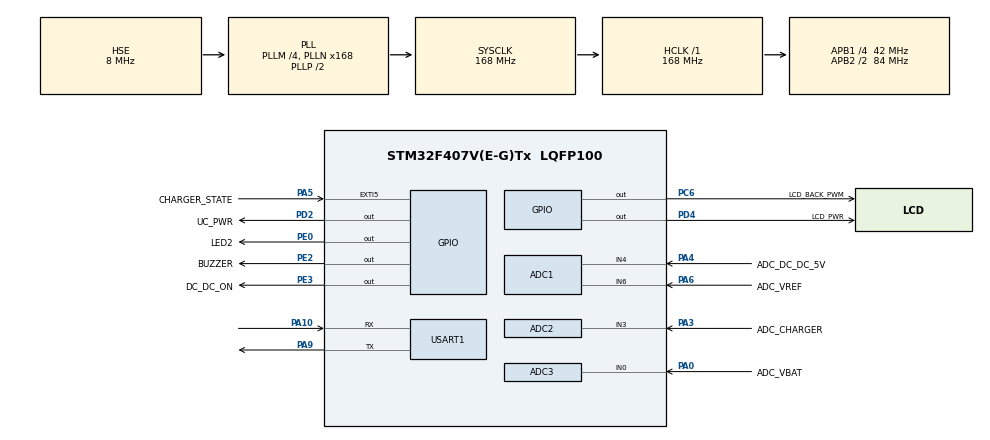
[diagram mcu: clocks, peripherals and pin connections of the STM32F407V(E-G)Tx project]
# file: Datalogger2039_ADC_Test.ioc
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Mcu.Family=STM32F4
PH0-OSC_IN.Signal=RCC_OSC_IN
RCC.CortexFreq_Value=168000000
ADC2.Channel-0\#ChannelRegularConversion=ADC_CHANNEL_3
PE2.GPIO_Speed=GPIO_SPEED_FREQ_VERY_HIGH
PC6.GPIO_Label=LCD_BACK_PWM
PD2.GPIO_Speed=GPIO_SPEED_FREQ_VERY_HIGH
PA6.GPIO_Label=ADC_VREF
ADC3.Channel-0\#ChannelRegularConversion=ADC_CHANNEL_0
RCC.SYSCLKSource=RCC_SYSCLKSOURCE_PLLCLK
ProjectManager.StackSize=0x400
RCC.HCLKFreq_Value=168000000
SH.ADCx_IN3.0=ADC3_IN3
SH.ADCx_IN3.1=ADC2_IN3,IN3
PD4.Signal=GPIO_Output
RCC.APB2TimFreq_Value=168000000
RCC.AHBFreq_Value=168000000
PH0-OSC_IN.Mode=HSE-External-Oscillator
ADC1.Channel-0\#ChannelRegularConversion=ADC_CHANNEL_4
RCC.HSE_VALUE=8000000
SH.ADCx_IN0.1=ADC3_IN0,IN0
PE2.Signal=GPIO_Output
SH.ADCx_IN0.0=ADC1_IN0
ADC1.SamplingTime-0\#ChannelRegularConversion=ADC_SAMPLETIME_112CYCLES
PH1-OSC_OUT.Mode=HSE-External-Oscillator
Mcu.Package=LQFP100
PA6.Signal=ADCx_IN6
ADC3.Rank-0\#ChannelRegularConversion=1
PA10.Signal=USART1_RX
ADC2.SamplingTime-0\#ChannelRegularConversion=ADC_SAMPLETIME_112CYCLES
PE0.GPIO_Label=LED2
RCC.APB2CLKDivider=RCC_HCLK_DIV2
RCC.APB1TimFreq_Value=84000000
ADC2.Rank-0\#ChannelRegularConversion=1
NVIC.USART1_IRQn=true\:0\:0\:false\:false\:true\:true\:true
PA4.GPIO_Label=ADC_DC_DC_5V
PC6.GPIO_Speed=GPIO_SPEED_FREQ_VERY_HIGH
PE2.GPIO_Label=BUZZER
PA3.Signal=ADCx_IN3
RCC.PLLSourceVirtual=RCC_PLLSOURCE_HSE
ADC1.Rank-0\#ChannelRegularConversion=1
PA10.Mode=Asynchronous
SH.ADCx_IN6.0=ADC1_IN6,IN6
PC6.Signal=GPIO_Output
RCC.APB1CLKDivider=RCC_HCLK_DIV4
PA0-WKUP.GPIO_Label=ADC_VBAT
PA0-WKUP.Signal=ADCx_IN0
PE0.GPIO_Speed=GPIO_SPEED_FREQ_VERY_HIGH
PD4.PinState=GPIO_PIN_SET
PA9.Mode=Asynchronous
ADC3.SamplingTime-0\#ChannelRegularConversion=ADC_SAMPLETIME_112CYCLES
ProjectManager.TargetToolchain=STM32CubeIDE
PA9.Signal=USART1_TX
RCC.LSE_VALUE=32768
PC6.PinState=GPIO_PIN_SET
PA5.Signal=GPXTI5
PD2.PinState=GPIO_PIN_SET
board=custom
RCC.VCOOutputFreq_Value=336000000
RCC.APB2Freq_Value=84000000
PD4.GPIO_Label=LCD_PWR
PD4.GPIO_Speed=GPIO_SPEED_FREQ_VERY_HIGH
SH.ADCx_IN4.1=ADC1_IN4,IN4
PH1-OSC_OUT.Signal=RCC_OSC_OUT
SH.ADCx_IN4.0=ADC2_IN4
ADC1.NbrOfConversion=1
Mcu.Name=STM32F407V(E-G)Tx
PE0.Signal=GPIO_Output
RCC.48MHZClocksFreq_Value=84000000
PA4.Signal=ADCx_IN4
RCC.SYSCLKFreq_VALUE=168000000
ADC1.master=1
PA5.GPIO_Label=CHARGER_STATE
ADC2.NbrOfConversionFlag=1
PE3.GPIO_Speed=GPIO_SPEED_FREQ_VERY_HIGH
USART1.VirtualMode=VM_ASYNC
NVIC.EXTI9_5_IRQn=true\:0\:0\:false\:false\:true\:true\:true
ProjectManager.HeapSize=0x200
RCC.HSI_VALUE=16000000
NVIC.PriorityGroup=NVIC_PRIORITYGROUP_4
ADC1.NbrOfConversionFlag=1
RCC.PLLM=4
RCC.PLLN=168
PE3.Signal=GPIO_Output
PE3.GPIO_Label=DC_DC_ON
PD2.Signal=GPIO_Output
RCC.APB1Freq_Value=42000000
ADC3.NbrOfConversionFlag=1
PD2.GPIO_Label=UC_PWR
PA3.GPIO_Label=ADC_CHARGER

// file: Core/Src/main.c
/* USER CODE BEGIN Header */
/**
 ******************************************************************************
 * @file           : main.c
 * @brief          : Main program body
 ******************************************************************************
 * @attention
 *
 * <h2><center>&copy; Copyright (c) 2021 STMicroelectronics.
 * All rights reserved.</center></h2>
 *
 * This software component is licensed by ST under BSD 3-Clause license,
 * the "License"; You may not use this file except in compliance with the
 * License. You may obtain a copy of the License at:
 *                        opensource.org/licenses/BSD-3-Clause
 *
 ******************************************************************************
 */
/* USER CODE END Header */
#include "main.h"

/* USER CODE BEGIN Includes */
#include <stdio.h>
#include "stm32f4xx_hal_adc_ex.h"
/* USER CODE END Includes */

ADC_HandleTypeDef hadc1;
ADC_HandleTypeDef hadc2;
ADC_HandleTypeDef hadc3;

UART_HandleTypeDef huart1;

/* USER CODE BEGIN PV */
uint32_t TP4056_charger_freq = 0;
uint32_t AD1_RES_ADC_DC_DC_5V = 0;
uint32_t AD2_RES_ADC_CHARGER = 0;
uint32_t AD3_RES_ADC_VBAT = 0;
uint32_t AD1_RES_ADC_VREF = 0;

/* ADC const calibration */
float const_adc_x2 = 0;
float const_adc_x16 = 0;

float batt_percent_up = 0;
float batt_percent_down = 100;

uint32_t battery_failure_timeout = 0;
volatile uint32_t battery_failure_cnt = 0;
volatile HAL_StatusTypeDef battery_failure_flag = HAL_OK;
/* USER CODE END PV */

void SystemClock_Config(void);
static void MX_GPIO_Init(void);
static void MX_ADC1_Init(void);
static void MX_ADC2_Init(void);
static void MX_ADC3_Init(void);
static void MX_USART1_UART_Init(void);
/* USER CODE BEGIN PFP */
void get_ADC_Vref(void);
float map(float x, float in_min, float in_max, float out_min, float out_max);
/* USER CODE END PFP */

/* USER CODE BEGIN 0 */
float map(float x, float in_min, float in_max, float out_min, float out_max) {
	if ((in_max - in_min) > (out_max - out_min)) {
		return (x - in_min) * (out_max - out_min + 1) / (in_max - in_min + 1)
				+ out_min;
	} else {
		return (x - in_min) * (out_max - out_min) / (in_max - in_min) + out_min;
	}
}
/* USER CODE END 0 */

int main(void) {

	/* MCU Configuration--------------------------------------------------------*/

	/* Reset of all peripherals, Initializes the Flash interface and the Systick. */
	HAL_Init();

	/* Configure the system clock */
	SystemClock_Config();

	/* Initialize all configured peripherals */
	MX_GPIO_Init();
	MX_ADC1_Init();
	MX_ADC2_Init();
	MX_ADC3_Init();
	MX_USART1_UART_Init();
	/* USER CODE BEGIN 2 */
	HAL_Delay(50);

	get_ADC_Vref();

	HAL_GPIO_WritePin(DC_DC_ON_GPIO_Port, DC_DC_ON_Pin, GPIO_PIN_SET);

	/* USER CODE END 2 */

	/* Infinite loop */
	while (1) {

		/* USER CODE BEGIN 3 */
		get_ADC_Vref();

		AD1_RES_ADC_DC_DC_5V = 0;
		AD2_RES_ADC_CHARGER = 0;
		AD3_RES_ADC_VBAT = 0;

		for (int i = 0; i < 50; i++) {
			// Start ADC Conversion
			HAL_ADC_Start(&hadc1);
			HAL_ADC_Start(&hadc2);
			HAL_ADC_Start(&hadc3);
			// Poll ADC1 Perihperal & TimeOut = 1mSec
			HAL_ADC_PollForConversion(&hadc1, 1);
			HAL_ADC_PollForConversion(&hadc2, 1);
			HAL_ADC_PollForConversion(&hadc3, 1);
			// Read The ADC Conversion Result & Map It To PWM DutyCycle
			AD1_RES_ADC_DC_DC_5V += HAL_ADC_GetValue(&hadc1);
			AD2_RES_ADC_CHARGER += HAL_ADC_GetValue(&hadc2);
			AD3_RES_ADC_VBAT += HAL_ADC_GetValue(&hadc3);
		}

		float f_adc1 = 0, f_adc2 = 0, f_adc3 = 0; //, f_vref = 0;

		f_adc1 = AD1_RES_ADC_DC_DC_5V / 50;
		f_adc2 = AD2_RES_ADC_CHARGER / 50;
		f_adc3 = AD3_RES_ADC_VBAT / 50;

		// (3.3 / 4096) = 0,000805664
		// R1=10k; R2=10k
		// 3.3V=10k; 20k=2*3.3
		// 0,000805664 * 2 = 0,001611328
		// 0,001611328 * 0,916996047 = 0,001477581
		// R1=15k; R2=1k
		// 3.3V=1k; 16k=16*3.3
		// 0,000805664 * 16 = 0,012890624
		// 0,012890624 * 0,916996047 = 0,011820651

		f_adc1 = f_adc1 * const_adc_x2;
		f_adc2 = f_adc2 * const_adc_x16;
		f_adc3 = f_adc3 * const_adc_x2;

		UsrLog("ADC1 %0.1fV, ADC2 %0.1fV, ADC3 %0.1fV", f_adc1, f_adc2, f_adc3);
		UsrLog("TP4056 LED CHRG freq: %lu", TP4056_charger_freq);

		// battery_failure_flag:
		// interruption on pin PA5 (frequency counter)
		// ---> see stm32f4xx_it.c file

		if (battery_failure_flag == 1) {
			UsrLog("Battery: error; tick: %lu", HAL_GetTick());
		} else {
			if (HAL_GPIO_ReadPin(CHARGER_STATE_GPIO_Port, CHARGER_STATE_Pin)
					== GPIO_PIN_RESET) {
				if (f_adc2 < 8.0) {
					UsrLog("Battery: in use; tick: %lu", HAL_GetTick());

					batt_percent_up = 0.0;
				} else {
					UsrLog("Battery: charging; tick: %lu", HAL_GetTick());
				}
			} else {
				UsrLog("Battery: charged; tick: %lu", HAL_GetTick());
			}
		}

		HAL_Delay(2000);
	}
	/* USER CODE END 3 */
}

void SystemClock_Config(void) {
	RCC_OscInitTypeDef RCC_OscInitStruct = { 0 };
	RCC_ClkInitTypeDef RCC_ClkInitStruct = { 0 };

	/** Configure the main internal regulator output voltage
	 */
	__HAL_RCC_PWR_CLK_ENABLE();
	__HAL_PWR_VOLTAGESCALING_CONFIG(PWR_REGULATOR_VOLTAGE_SCALE1);
	/** Initializes the RCC Oscillators according to the specified parameters
	 * in the RCC_OscInitTypeDef structure.
	 */
	RCC_OscInitStruct.OscillatorType = RCC_OSCILLATORTYPE_HSE;
	RCC_OscInitStruct.HSEState = RCC_HSE_ON;
	RCC_OscInitStruct.PLL.PLLState = RCC_PLL_ON;
	RCC_OscInitStruct.PLL.PLLSource = RCC_PLLSOURCE_HSE;
	RCC_OscInitStruct.PLL.PLLM = 4;
	RCC_OscInitStruct.PLL.PLLN = 168;
	RCC_OscInitStruct.PLL.PLLP = RCC_PLLP_DIV2;
	RCC_OscInitStruct.PLL.PLLQ = 4;
	if (HAL_RCC_OscConfig(&RCC_OscInitStruct) != HAL_OK) {
		Error_Handler();
	}
	/** Initializes the CPU, AHB and APB buses clocks
	 */
	RCC_ClkInitStruct.ClockType = RCC_CLOCKTYPE_HCLK | RCC_CLOCKTYPE_SYSCLK
			| RCC_CLOCKTYPE_PCLK1 | RCC_CLOCKTYPE_PCLK2;
	RCC_ClkInitStruct.SYSCLKSource = RCC_SYSCLKSOURCE_PLLCLK;
	RCC_ClkInitStruct.AHBCLKDivider = RCC_SYSCLK_DIV1;
	RCC_ClkInitStruct.APB1CLKDivider = RCC_HCLK_DIV4;
	RCC_ClkInitStruct.APB2CLKDivider = RCC_HCLK_DIV2;

	if (HAL_RCC_ClockConfig(&RCC_ClkInitStruct, FLASH_LATENCY_5) != HAL_OK) {
		Error_Handler();
	}
}

static void MX_ADC1_Init(void) {

	ADC_ChannelConfTypeDef sConfig = { 0 };

	/** Configure the global features of the ADC (Clock, Resolution, Data Alignment and number of conversion)
	 */
	hadc1.Instance = ADC1;
	hadc1.Init.ClockPrescaler = ADC_CLOCK_SYNC_PCLK_DIV4;
	hadc1.Init.Resolution = ADC_RESOLUTION_12B;
	hadc1.Init.ScanConvMode = DISABLE;
	hadc1.Init.ContinuousConvMode = DISABLE;
	hadc1.Init.DiscontinuousConvMode = DISABLE;
	hadc1.Init.ExternalTrigConvEdge = ADC_EXTERNALTRIGCONVEDGE_NONE;
	hadc1.Init.ExternalTrigConv = ADC_SOFTWARE_START;
	hadc1.Init.DataAlign = ADC_DATAALIGN_RIGHT;
	hadc1.Init.NbrOfConversion = 1;
	hadc1.Init.DMAContinuousRequests = DISABLE;
	hadc1.Init.EOCSelection = ADC_EOC_SINGLE_CONV;
	if (HAL_ADC_Init(&hadc1) != HAL_OK) {
		Error_Handler();
	}
	/** Configure for the selected ADC regular channel its corresponding rank in the sequencer and its sample time.
	 */
	sConfig.Channel = ADC_CHANNEL_4;
	sConfig.Rank = 1;
	sConfig.SamplingTime = ADC_SAMPLETIME_112CYCLES;
	if (HAL_ADC_ConfigChannel(&hadc1, &sConfig) != HAL_OK) {
		Error_Handler();
	}

}

static void MX_ADC2_Init(void) {

	ADC_ChannelConfTypeDef sConfig = { 0 };

	/** Configure the global features of the ADC (Clock, Resolution, Data Alignment and number of conversion)
	 */
	hadc2.Instance = ADC2;
	hadc2.Init.ClockPrescaler = ADC_CLOCK_SYNC_PCLK_DIV4;
	hadc2.Init.Resolution = ADC_RESOLUTION_12B;
	hadc2.Init.ScanConvMode = DISABLE;
	hadc2.Init.ContinuousConvMode = DISABLE;
	hadc2.Init.DiscontinuousConvMode = DISABLE;
	hadc2.Init.ExternalTrigConvEdge = ADC_EXTERNALTRIGCONVEDGE_NONE;
	hadc2.Init.ExternalTrigConv = ADC_SOFTWARE_START;
	hadc2.Init.DataAlign = ADC_DATAALIGN_RIGHT;
	hadc2.Init.NbrOfConversion = 1;
	hadc2.Init.DMAContinuousRequests = DISABLE;
	hadc2.Init.EOCSelection = ADC_EOC_SINGLE_CONV;
	if (HAL_ADC_Init(&hadc2) != HAL_OK) {
		Error_Handler();
	}
	/** Configure for the selected ADC regular channel its corresponding rank in the sequencer and its sample time.
	 */
	sConfig.Channel = ADC_CHANNEL_3;
	sConfig.Rank = 1;
	sConfig.SamplingTime = ADC_SAMPLETIME_112CYCLES;
	if (HAL_ADC_ConfigChannel(&hadc2, &sConfig) != HAL_OK) {
		Error_Handler();
	}

}

static void MX_ADC3_Init(void) {

	ADC_ChannelConfTypeDef sConfig = { 0 };

	/** Configure the global features of the ADC (Clock, Resolution, Data Alignment and number of conversion)
	 */
	hadc3.Instance = ADC3;
	hadc3.Init.ClockPrescaler = ADC_CLOCK_SYNC_PCLK_DIV4;
	hadc3.Init.Resolution = ADC_RESOLUTION_12B;
	hadc3.Init.ScanConvMode = DISABLE;
	hadc3.Init.ContinuousConvMode = DISABLE;
	hadc3.Init.DiscontinuousConvMode = DISABLE;
	hadc3.Init.ExternalTrigConvEdge = ADC_EXTERNALTRIGCONVEDGE_NONE;
	hadc3.Init.ExternalTrigConv = ADC_SOFTWARE_START;
	hadc3.Init.DataAlign = ADC_DATAALIGN_RIGHT;
	hadc3.Init.NbrOfConversion = 1;
	hadc3.Init.DMAContinuousRequests = DISABLE;
	hadc3.Init.EOCSelection = ADC_EOC_SINGLE_CONV;
	if (HAL_ADC_Init(&hadc3) != HAL_OK) {
		Error_Handler();
	}
	/** Configure for the selected ADC regular channel its corresponding rank in the sequencer and its sample time.
	 */
	sConfig.Channel = ADC_CHANNEL_0;
	sConfig.Rank = 1;
	sConfig.SamplingTime = ADC_SAMPLETIME_112CYCLES;
	if (HAL_ADC_ConfigChannel(&hadc3, &sConfig) != HAL_OK) {
		Error_Handler();
	}

}

static void MX_USART1_UART_Init(void) {

	huart1.Instance = USART1;
	huart1.Init.BaudRate = 115200;
	huart1.Init.WordLength = UART_WORDLENGTH_8B;
	huart1.Init.StopBits = UART_STOPBITS_1;
	huart1.Init.Parity = UART_PARITY_NONE;
	huart1.Init.Mode = UART_MODE_TX_RX;
	huart1.Init.HwFlowCtl = UART_HWCONTROL_NONE;
	huart1.Init.OverSampling = UART_OVERSAMPLING_16;
	if (HAL_UART_Init(&huart1) != HAL_OK) {
		Error_Handler();
	}

}

static void MX_GPIO_Init(void) {
	GPIO_InitTypeDef GPIO_InitStruct = { 0 };

	/* GPIO Ports Clock Enable */
	__HAL_RCC_GPIOE_CLK_ENABLE();
	__HAL_RCC_GPIOH_CLK_ENABLE();
	__HAL_RCC_GPIOA_CLK_ENABLE();
	__HAL_RCC_GPIOC_CLK_ENABLE();
	__HAL_RCC_GPIOD_CLK_ENABLE();

	/*Configure GPIO pin Output Level */
	HAL_GPIO_WritePin(GPIOE, BUZZER_Pin | DC_DC_ON_Pin | LED2_Pin,
			GPIO_PIN_RESET);

	/*Configure GPIO pin Output Level */
	HAL_GPIO_WritePin(LCD_BACK_PWM_GPIO_Port, LCD_BACK_PWM_Pin, GPIO_PIN_SET);

	/*Configure GPIO pin Output Level */
	HAL_GPIO_WritePin(GPIOD, UC_PWR_Pin | LCD_PWR_Pin, GPIO_PIN_SET);

	/*Configure GPIO pins : BUZZER_Pin DC_DC_ON_Pin LED2_Pin */
	GPIO_InitStruct.Pin = BUZZER_Pin | DC_DC_ON_Pin | LED2_Pin;
	GPIO_InitStruct.Mode = GPIO_MODE_OUTPUT_PP;
	GPIO_InitStruct.Pull = GPIO_NOPULL;
	GPIO_InitStruct.Speed = GPIO_SPEED_FREQ_VERY_HIGH;
	HAL_GPIO_Init(GPIOE, &GPIO_InitStruct);

	/*Configure GPIO pin : CHARGER_STATE_Pin */
	GPIO_InitStruct.Pin = CHARGER_STATE_Pin;
	GPIO_InitStruct.Mode = GPIO_MODE_IT_RISING;
	GPIO_InitStruct.Pull = GPIO_NOPULL;
	HAL_GPIO_Init(CHARGER_STATE_GPIO_Port, &GPIO_InitStruct);

	/*Configure GPIO pin : LCD_BACK_PWM_Pin */
	GPIO_InitStruct.Pin = LCD_BACK_PWM_Pin;
	GPIO_InitStruct.Mode = GPIO_MODE_OUTPUT_PP;
	GPIO_InitStruct.Pull = GPIO_NOPULL;
	GPIO_InitStruct.Speed = GPIO_SPEED_FREQ_VERY_HIGH;
	HAL_GPIO_Init(LCD_BACK_PWM_GPIO_Port, &GPIO_InitStruct);

	/*Configure GPIO pins : UC_PWR_Pin LCD_PWR_Pin */
	GPIO_InitStruct.Pin = UC_PWR_Pin | LCD_PWR_Pin;
	GPIO_InitStruct.Mode = GPIO_MODE_OUTPUT_PP;
	GPIO_InitStruct.Pull = GPIO_NOPULL;
	GPIO_InitStruct.Speed = GPIO_SPEED_FREQ_VERY_HIGH;
	HAL_GPIO_Init(GPIOD, &GPIO_InitStruct);

	/* EXTI interrupt init*/
	HAL_NVIC_SetPriority(EXTI9_5_IRQn, 0, 0);
	HAL_NVIC_EnableIRQ(EXTI9_5_IRQn);

}

/* USER CODE BEGIN 4 */
int __io_putchar(int ch) {
	uint8_t c[1];
	c[0] = ch & 0x00FF;
	HAL_UART_Transmit(&huart1, &*c, 1, 10);
	return ch;
}

int _write(int file, char *ptr, int len) {
	int DataIdx;
	for (DataIdx = 0; DataIdx < len; DataIdx++) {
		__io_putchar(*ptr++);
	}
	return len;
}

/* Handle PA5 interrupt */
// EXTI Line5 External Interrupt ISR Handler CallBackFun
void HAL_GPIO_EXTI_Callback(uint16_t GPIO_Pin) {
	if (GPIO_Pin == GPIO_PIN_5) // If The INT Source Is EXTI Line5 (PA5 Pin)
	{
		battery_failure_cnt++;

		HAL_GPIO_TogglePin(LED2_GPIO_Port, LED2_Pin); // Toggle The Output (LED) Pin
	}
}

void get_ADC_Vref(void) {
	// Set ADC Channel 6 (PA6)
	hadc1.Instance->SQR3 = ADC_CHANNEL_6;

	AD1_RES_ADC_VREF = 0;

	for (int i = 0; i < 25; i++) {
		// Start ADC Conversion
		HAL_ADC_Start(&hadc1);
		// Poll ADC1 Perihperal & TimeOut = 1mSec
		HAL_ADC_PollForConversion(&hadc1, 1);
		// Read The ADC Conversion Result & Map It To PWM DutyCycle
		AD1_RES_ADC_VREF += HAL_ADC_GetValue(&hadc1);

		HAL_Delay(1);
	}

	// Set ADC Channel 4 (PA4)
	hadc1.Instance->SQR3 = ADC_CHANNEL_4;

	AD1_RES_ADC_VREF /= 25;

	UsrLog("%lu", AD1_RES_ADC_VREF);

	float f_vref = AD1_RES_ADC_VREF;

	f_vref = 2.495 / f_vref;

	// (3.3 / 4096) = 0,000805664
	// R1=10k; R2=10k
	// 3.3V=10k; 20k=2*3.3
	// 0,000805664 * 2 = 0,001611328
	// 0,001611328 * 0,916996047 = 0,001477581
	// R1=15k; R2=1k
	// 3.3V=1k; 16k=16*3.3
	// 0,000805664 * 16 = 0,012890624
	// 0,012890624 * 0,916996047 = 0,011820651

	const_adc_x2 = (f_vref * 2);
	const_adc_x16 = (f_vref * 16);
}
/* USER CODE END 4 */

void Error_Handler(void) {
	__disable_irq();
	while (1) {
	}
}

/************************ (C) COPYRIGHT STMicroelectronics *****END OF FILE****/
